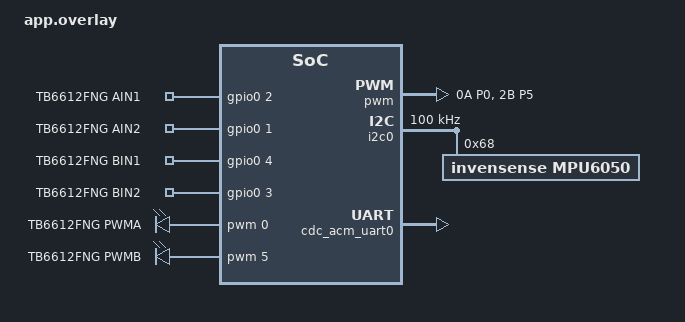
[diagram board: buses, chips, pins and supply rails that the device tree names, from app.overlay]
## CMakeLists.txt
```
# SPDX-License-Identifier: Apache-2.0

cmake_minimum_required(VERSION 3.20.0)

find_package(Zephyr REQUIRED HINTS $ENV{ZEPHYR_BASE})
project(picow_pid)

target_sources(app PRIVATE src/main.c src/mpu6050.c src/pid_controller.c src/motor_control.c)
```

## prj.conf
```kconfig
# CDC specific configurations
CONFIG_USB_DEVICE_STACK=y
CONFIG_USB_DEVICE_PRODUCT="RPi Pico W USB Serial Console"
CONFIG_USB_DEVICE_VID=0001
CONFIG_CONSOLE=y

# UART specific configurations - also required for CDC ACM
CONFIG_SERIAL=y # Enable options for serial drivers
CONFIG_UART_CONSOLE=y # Sets the default for printk and printf to output to the UART serial console
CONFIG_UART_LINE_CTRL=y # This enables the API for apps to control the serial line, such as baud rate, CTS and RTS.

#MPU6050 specific configurations
CONFIG_GPIO=y
CONFIG_I2C=y
CONFIG_SENSOR=y
CONFIG_MPU6050_TRIGGER_NONE=y
CONFIG_CBPRINTF_FP_SUPPORT=y

#Zephyr Logging Module configs
CONFIG_LOG=y
#CONFIG_NET_LOG=y
CONFIG_LOG_DEFAULT_LEVEL=3
CONFIG_LOG_BACKEND_UART=y
CONFIG_LOG_PROCESS_THREAD=y  # Important for automatic log processing

CONFIG_PWM=y

#PercepIO Tracing
# CONFIG_TRACING=y
# CONFIG_PERCEPIO_TRACERECORDER=y
# CONFIG_TRACING_BACKEND_UART=y
# CONFIG_PERCEPIO_TRC_START_MODE_START=y
# CONFIG_PERCEPIO_TRC_CFG_STREAM_PORT_RINGBUFFER=y
# CONFIG_PERCEPIO_TRC_CFG_STREAM_PORT_RINGBUFFER_SIZE=2048
```

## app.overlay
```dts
/ {
    chosen {
        zephyr,console = &cdc_acm_uart0;
    };

    tb6612fng_pins {
        compatible = "gpio-keys";
        
        ain1_pin_label: ain1_pin {
            gpios = <&gpio0 2 GPIO_ACTIVE_HIGH>;
            label = "TB6612FNG AIN1";
        };
        ain2_pin_label: ain2_pin {
            gpios = <&gpio0 1 GPIO_ACTIVE_HIGH>;
            label = "TB6612FNG AIN2";
        };
        bin1_pin_label: bin1_pin {
            gpios = <&gpio0 4 GPIO_ACTIVE_HIGH>;
            label = "TB6612FNG BIN1";
        };
        bin2_pin_label: bin2_pin {
            gpios = <&gpio0 3 GPIO_ACTIVE_HIGH>;
            label = "TB6612FNG BIN2";
        };
    };

    tb6612fng_pwm {
        compatible = "pwm-leds";
        pwm_a_label: pwm_a {
            pwms = <&pwm 0 100000 PWM_POLARITY_NORMAL>;
            label = "TB6612FNG PWMA"; 
        };
        pwm_b_label: pwm_b {
            pwms = <&pwm 5 100000 PWM_POLARITY_NORMAL>;
            label = "TB6612FNG PWMB";
        };
    };

};

&pwm {
    status = "okay";
    pinctrl-0 = <&pwm_ch05_default>;
    pinctrl-names = "default";
};

&i2c0 {
    status = "okay";
    pinctrl-0 = <&i2c0_mpu>;
    pinctrl-names = "default"; //do no use custom names, use predefined names like 'default' or 'sleep', else DT errors occur
    clock-frequency = <I2C_BITRATE_STANDARD>; //can also use I2C_BITRATE_FAST - interferes with logging module when used with a large PWM freq.
    mpu6050: mpu6050@68 {
        compatible = "invensense,mpu6050";
        reg = <0x68>;
        label = "MPU6050";
        status = "okay";
    };
};

&pinctrl{
    pwm_ch05_default: pwm_ch05_default{
        group1{
            pinmux = <PWM_0A_P0>;
        };
        group2{
            pinmux = <PWM_2B_P5>;
        };
    };

    i2c0_mpu: i2c0_mpu {
        group1 {
			pinmux = <I2C0_SDA_P16>, <I2C0_SCL_P17>;
			input-enable;
			input-schmitt-enable;
		};
    };
};

&zephyr_udc0 {
    cdc_acm_uart0: cdc_acm_uart0 {
        compatible = "zephyr,cdc-acm-uart";
        label = "CDC_ACM_0";
        status = "okay";
    };
};
```

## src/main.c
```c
/* main.c */
#include <zephyr/kernel.h>
#include <zephyr/drivers/gpio.h>
#include <zephyr/usb/usb_device.h>
#include <zephyr/drivers/uart.h>
#include "mpu6050.h"
#include "pid_controller.h"
#include <zephyr/logging/log.h>
#include <zephyr/drivers/pwm.h>
#include <stdlib.h>
#include <stdio.h>
#include <string.h>

LOG_MODULE_REGISTER(main, CONFIG_LOG_DEFAULT_LEVEL);

#define STACK_SIZE 1024

// Global device pointer
static const struct device *usb_acm;

/* Setter Getter Helpers */
#define UART_BUF_SIZE 32
static uint8_t uart_rx_buf[UART_BUF_SIZE];
static int uart_rx_pos = 0;

static void process_command(const char *cmd) {
    LOG_INF("Processing command: %s", cmd);
    
    // Get the angle PID controller
    pid_controller_t *pid = balance_controller_get_angle_pid();
    
    // Command format: "pid kp ki kd"
    if (strncmp(cmd, "pid ", 4) == 0) {
        float kp, ki, kd;
        int items = sscanf(cmd + 4, "%f %f %f", &kp, &ki, &kd);
        
        if (items == 3) {
            pid_set_parameters(pid, kp, ki, kd);
            LOG_INF("PID parameters updated: Kp=%.2f, Ki=%.2f, Kd=%.2f", (double)kp, (double)ki, (double)kd);
            
            char response[64];
            snprintf(response, sizeof(response), 
                    "PID parameters updated: Kp=%.2f, Ki=%.2f, Kd=%.2f\r\n", 
                    (double)kp, (double)ki, (double)kd);
            uart_fifo_fill(usb_acm, (const uint8_t *)response, strlen(response));
        } else {
            char response[] = "Invalid format. Use: pid kp ki kd\r\n";
            uart_fifo_fill(usb_acm, (const uint8_t *)response, strlen(response));
        }
    }
    // Command: "getpid" - get current PID values
    else if (strcmp(cmd, "getpid") == 0) {
        float kp, ki, kd;
        pid_get_parameters(pid, &kp, &ki, &kd);
        
        char response[64];
        snprintf(response, sizeof(response), 
                "Current PID parameters: Kp=%.2f, Ki=%.2f, Kd=%.2f\r\n", 
                (double)kp, (double)ki, (double)kd);
        uart_fifo_fill(usb_acm, (const uint8_t *)response, strlen(response));
    }
    // Command: "help" - show available commands
    else if (strcmp(cmd, "help") == 0) {
        char response[] = "Available commands:\r\n"
                         "  pid kp ki kd - Set PID parameters\r\n"
                         "  getpid       - Get current PID parameters\r\n"
                         "  help         - Show this help\r\n";
        uart_fifo_fill(usb_acm, (const uint8_t *)response, strlen(response));
    }
    else {
        char response[] = "Unknown command. Type 'help' for available commands.\r\n";
        uart_fifo_fill(usb_acm, (const uint8_t *)response, strlen(response));
    }
}

static void uart_cb(const struct device *dev, void *user_data)
{
    uint8_t c;
    
    if (!uart_irq_update(dev)) {
        return;
    }
    
    if (uart_irq_rx_ready(dev)) {
        // Read all available data
        while (uart_fifo_read(dev, &c, 1) == 1) {
            //Echo the input back right away
            uart_fifo_fill(dev, &c, 1);
            // Process the character
            if (c == '\r' || c == '\n') {
                // End of command, process it
                if (uart_rx_pos > 0) {
                    uart_rx_buf[uart_rx_pos] = '\0';  // Null-terminate
                    process_command((const char *)uart_rx_buf);
                    uart_rx_pos = 0;  // Reset buffer
                }
            } else if (uart_rx_pos < UART_BUF_SIZE - 1) {
                // Add to buffer
                uart_rx_buf[uart_rx_pos++] = c;
            }
            else {
                // We’ve hit the buffer limit — take action!
                const char *warn_msg = "Command too long!. Ignoring input.\r\n";
                uart_fifo_fill(dev, (const uint8_t *)warn_msg, strlen(warn_msg));
                uart_rx_pos = 0; // Reset Buffer
            }
        }
    }
}

int main(void)
{
    int ret;
    
    // Get USB ACM device
    usb_acm = DEVICE_DT_GET(DT_CHOSEN(zephyr_console));
    if (!device_is_ready(usb_acm)) {
        LOG_ERR("Failed to get USB UART device\n");
        return 0;
    }
    
    // Initialize USB
    if (usb_enable(NULL)) {
        LOG_ERR("Failed to enable USB\n");
        return 0;
    }
    
    // Wait for DTR signal
    uint32_t dtr = 0;
    while (!dtr) {
        uart_line_ctrl_get(usb_acm, UART_LINE_CTRL_DTR, &dtr);
        k_sleep(K_MSEC(100));
    }
    
    // Set UART callback for command processing
    uart_irq_callback_set(usb_acm, uart_cb);
    uart_irq_rx_enable(usb_acm);

    // Initialize balance controller 
    ret = balance_controller_init();
    if (ret != BALANCE_CONTROLLER_SUCCESS) {
        LOG_ERR("Balance controller initialization failed: %d\n", ret);
        return 0;
    }
    
    // Start balance controller thread
    balance_controller_start();

    // Send welcome message
    char welcome[] = "\r\n===== Self-Balancing Robot Control =====\r\n"
    "Type 'help' for available commands\r\n";
    uart_fifo_fill(usb_acm, (const uint8_t *)welcome, strlen(welcome));

    while (1) {
        k_sleep(K_FOREVER);
    }
    
    return 0;
}
```

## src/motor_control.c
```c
/* motor_control.c */
#include "motor_control.h"

LOG_MODULE_DECLARE(main);

// Define PWM and GPIO nodes from devicetree
#define PWM_NODE_A DT_NODELABEL(pwm_a_label)
#define PWM_NODE_B DT_NODELABEL(pwm_b_label)
#define AIN1_NODE DT_NODELABEL(ain1_pin_label)
#define AIN2_NODE DT_NODELABEL(ain2_pin_label)
#define BIN1_NODE DT_NODELABEL(bin1_pin_label)
#define BIN2_NODE DT_NODELABEL(bin2_pin_label)

#define PWM_PERIOD DT_PWMS_PERIOD(PWM_NODE_A) // Period in ns
#define MAX_PULSE (PWM_PERIOD) // 100% duty cycle as maximum
#define MIN_PULSE (PWM_PERIOD / 10) //10% duty cycle as minimum

// Device specs
static const struct gpio_dt_spec ain_1 = GPIO_DT_SPEC_GET(AIN1_NODE, gpios);
static const struct gpio_dt_spec ain_2 = GPIO_DT_SPEC_GET(AIN2_NODE, gpios);
static const struct gpio_dt_spec bin_1 = GPIO_DT_SPEC_GET(BIN1_NODE, gpios);
static const struct gpio_dt_spec bin_2 = GPIO_DT_SPEC_GET(BIN2_NODE, gpios);
 
static const struct pwm_dt_spec pwm_a = PWM_DT_SPEC_GET(PWM_NODE_A);
static const struct pwm_dt_spec pwm_b = PWM_DT_SPEC_GET(PWM_NODE_B);

int motor_init(void) {
    // Check if devices are ready
    if (!device_is_ready(pwm_a.dev) || !device_is_ready(pwm_b.dev) ||
        !device_is_ready(ain_1.port) || !device_is_ready(ain_2.port) ||
        !device_is_ready(bin_1.port) || !device_is_ready(bin_2.port)) {
        LOG_ERR("Motor devices not ready");
        return -1;
    }

    // Configure GPIO pins
    gpio_pin_configure_dt(&ain_1, GPIO_OUTPUT_INACTIVE);
    gpio_pin_configure_dt(&ain_2, GPIO_OUTPUT_INACTIVE);
    gpio_pin_configure_dt(&bin_1, GPIO_OUTPUT_INACTIVE);
    gpio_pin_configure_dt(&bin_2, GPIO_OUTPUT_INACTIVE);

    // Initialize PWM with zero duty cycle
    pwm_set_dt(&pwm_a, PWM_PERIOD, 0);
    pwm_set_dt(&pwm_b, PWM_PERIOD, 0);

    LOG_INF("Motor control initialized");
    return 0;
}

void motor_set_speed(float speed) {
    // Clamp speed to the range -1000 to +1000 
    // Increase range to have finer control, decrease range to have coarser control
    if (speed > 1000.0f) speed = 1000.0f;
    if (speed < -1000.0f) speed = -1000.0f;
    
    // Calculate PWM pulse based on speed percentage
    uint32_t pwm_pulse = (uint32_t)(fabsf(speed) * MAX_PULSE / 1000.0f);

    // Uncomment if motors seem to have a dead zone
    /*
    if (pwm_pulse > 0 && pwm_pulse < MIN_PULSE) {
        pwm_pulse = MIN_PULSE;  // Set a minimum effective threshold
    }
    */

    if (speed > 0) {
        // Forward direction
        gpio_pin_set_dt(&ain_1, 1);
        gpio_pin_set_dt(&ain_2, 0);
        gpio_pin_set_dt(&bin_1, 1);
        gpio_pin_set_dt(&bin_2, 0);
    } else if (speed < 0) {
        // Backward direction
        gpio_pin_set_dt(&ain_1, 0);
        gpio_pin_set_dt(&ain_2, 1);
        gpio_pin_set_dt(&bin_1, 0);
        gpio_pin_set_dt(&bin_2, 1);
    } else {
        // Stop motors
        gpio_pin_set_dt(&ain_1, 0);
        gpio_pin_set_dt(&ain_2, 0);
        gpio_pin_set_dt(&bin_1, 0);
        gpio_pin_set_dt(&bin_2, 0);
        pwm_pulse = 0;
    }
    
    // Set PWM for both motors
    pwm_set_dt(&pwm_a, PWM_PERIOD, pwm_pulse);
    pwm_set_dt(&pwm_b, PWM_PERIOD, pwm_pulse);
}
```

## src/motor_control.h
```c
/* motor_control.h */
#ifndef MOTOR_CONTROL_H
#define MOTOR_CONTROL_H

#include <zephyr/kernel.h>
#include <zephyr/drivers/gpio.h>
#include <zephyr/drivers/pwm.h>
#include <zephyr/logging/log.h>
#include <math.h>
#include <zephyr/usb/usb_device.h>
#include <zephyr/drivers/uart.h>

// Initialize motor control hardware
int motor_init(void);

// Set motor speed with direction control
// This function will be called from the PID controller
void motor_set_speed(float speed);

#endif /* MOTOR_CONTROL_H */
```

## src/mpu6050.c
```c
/*mpu6050.c*/
#include "mpu6050.h"

LOG_MODULE_REGISTER(mpu6050, CONFIG_LOG_DEFAULT_LEVEL);

#define MPU6050_NODE DT_NODELABEL(mpu6050)
#define CALIBRATION_SAMPLES 500


static const struct device *mpu6050;

/* Variables to calculate bias of gyro and accelerometer */
static float gyro_bias_x = 0.0f;            // only pitch axis needed since our tilt happens about this axis
//static float gyro_bias_y = 0.0f;          // Uncomment if required for enhancing gyro calibration 
//static float gyro_bias_z = 0.0f;          // Uncomment if required for enhancing gyro calibration
//static float accel_bias_x = 0.0f;         // Uncomment if required for enhancing gyro calibration
static float accel_bias_y = 0.0f; 
static float accel_bias_z = 0.0f; 

/* Kalman filter variables */
static float Q_angle = 0.001f;              // Process noise variance for the angle
static float Q_gyro = 0.003f;               // Process noise variance for the gyro bias
static float R_measure = 0.03f;             // Measurement noise variance
static float angle = 0.0f;                  // Filtered angle
static float bias = 0.0f;                   // Gyro bias
static float P[2][2] = {{0, 0}, {0, 0}};    // Error covariance matrix

int mpu6050_begin(void){
    int ret;

    mpu6050 = DEVICE_DT_GET(MPU6050_NODE);

    // Check if device is ready
    if (!device_is_ready(mpu6050)) {
        //printk("MPU6050 device not found\n");
        return MPU6050_ERR_NOT_FOUND;
    }

    // Fetch data once to verify device is working
    ret = sensor_sample_fetch(mpu6050);
    if(ret <0){
        return MPU6050_ERR_INIT;
    }

    return MPU6050_SUCCESS;
}

int mpu6050_read(struct mpu6050_data *data){
    int ret;
    ret = sensor_sample_fetch(mpu6050);
    if(ret < 0) {
        return ret;
    }

    ret = sensor_channel_get(mpu6050, SENSOR_CHAN_ACCEL_XYZ, data-> accel);
    if(ret < 0) {
        return ret;
    }

    ret = sensor_channel_get(mpu6050, SENSOR_CHAN_GYRO_XYZ, data-> gyro);
    if(ret < 0) {
        return ret;
    }

    return 0;
}

int calibrate_gyro(void) {
    struct mpu6050_data calib_data;
    float sum_x = 0.0f, sum_y = 0.0f, sum_z = 0.0f;

    for (int i = 0; i < CALIBRATION_SAMPLES; i++) {
        if (mpu6050_read(&calib_data) < 0) {
            return -1;
        }

        sum_x += sensor_value_to_float(&calib_data.gyro[0]); // X-axis (pitch)
        sum_y += sensor_value_to_float(&calib_data.accel[1]); // Y-axis (Accel_Y)
        sum_z += sensor_value_to_float(&calib_data.accel[2]); // X-axis (Accel_Z)

        k_sleep(K_MSEC(2));  // 2 ms × 500 ≈ 1 second
    }

    gyro_bias_x = sum_x / CALIBRATION_SAMPLES;
    accel_bias_y = sum_y / CALIBRATION_SAMPLES;
    accel_bias_z = sum_z / CALIBRATION_SAMPLES;
    LOG_INF("Gyro X, Accel y, Accel Z bias calibrated: %.2f | %.2f | %.2f", (double)gyro_bias_x, (double)accel_bias_y, (double)accel_bias_z);
    return 0;
}

float calculate_angle(struct mpu6050_data *data, float dt) {
    float accel_y = sensor_value_to_float(&data->accel[1]);
    float accel_z = sensor_value_to_float(&data->accel[2]);
    float gyro_x = sensor_value_to_float(&data->gyro[0]) - gyro_bias_x;

    // Calculate angle in radians and convert to degrees
    double accel_angle = atan2f(accel_y, accel_z) * 57.2958f; // 180/PI = 57.2958

    return kalman_filter((float)accel_angle, gyro_x, dt);
}

float kalman_filter(float newAngle, float newRate, float dt) {
    // Prediction Step
    angle += (newRate - bias) * dt;
    
    P[0][0] += dt * (dt * P[1][1] - P[0][1] - P[1][0] + Q_angle);
    P[0][1] -= dt * P[1][1];
    P[1][0] -= dt * P[1][1];
    P[1][1] += Q_gyro * dt;

    // Measurement Update Step
    float S = P[0][0] + R_measure;
    float K[2];
    K[0] = P[0][0] / S;
    K[1] = P[1][0] / S;

    float y = newAngle - angle; // Angle difference
    angle += K[0] * y;
    bias += K[1] * y;

    float P00 = P[0][0];
    float P01 = P[0][1];

    P[0][0] = (1 - K[0]) * P00;
    P[0][1] = (1 - K[0]) * P01;
    P[1][0] = P[1][0] - K[1] * P00;
    P[1][1] = P[1][1] - K[1] * P01;

    return angle;
}
```

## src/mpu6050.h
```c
/*mpu6050.h*/
#ifndef MPU6050_H
#define MPU6050_H

#include <zephyr/kernel.h>
#include <zephyr/drivers/i2c.h>
#include <zephyr/drivers/sensor.h>
#include <zephyr/logging/log.h>
#include <math.h>

/*Error Codes specific to MPU6050*/
#define MPU6050_SUCCESS 0
#define MPU6050_ERR_NOT_FOUND -ENODEV //Device not found
#define MPU6050_ERR_INIT -EINVAL //Initialization Error

// Structure to hold raw accelerometer and gyroscope values from the MPU6050
struct mpu6050_data{
    struct sensor_value accel[3];
    struct sensor_value gyro[3];
};

// Initialize the MPU6050
int mpu6050_begin(void);

// Read MPU6050 Sensor Data
int mpu6050_read(struct mpu6050_data *data);

// Calibrate the MPU6050's  Gyroscope and Accelerometer */
int calibrate_gyro(void);

// Calculate Angle using raw Gyroscope and Accelerometer Data
float calculate_angle(struct mpu6050_data *data, float dt);


// Improve angle estimate using Kalman Filter
float kalman_filter(float newAngle, float newRate, float dt);
#endif
```

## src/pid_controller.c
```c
/* pid_controller.c */
#include "pid_controller.h"
#include "mpu6050.h"
#include "motor_control.h"

LOG_MODULE_REGISTER(pid_controller, CONFIG_LOG_DEFAULT_LEVEL);


#define STACK_SIZE 2048
#define CONTROLLER_PRIORITY 5

// Mutex to ensure thread safety
K_MUTEX_DEFINE(pid_mutex);

// Thread stack and data
K_THREAD_STACK_DEFINE(controller_stack, STACK_SIZE);
static struct k_thread controller_thread_data;

// Semaphore for data synchronization
K_SEM_DEFINE(data_sem, 0, 1);

// Sensor data storage
static struct mpu6050_data mpu6050_latest_data;

// PID controllers for balance
static pid_controller_t angle_pid;

// Controller thread function
static void controller_thread(void *p1, void *p2, void *p3)
{
    int ret;
    float angle, motor_output;
    uint32_t last_time = k_uptime_get();
    float dt;

    //For debugging time
    uint32_t loop_start, loop_end, elapsed;

    while (1) {
        loop_start = k_uptime_get();

        // Read MPU6050 data
        ret = mpu6050_read(&mpu6050_latest_data);
        uint32_t now = k_uptime_get(); //time immediately after sensor read

        if (ret < 0) {
            LOG_ERR("Failed to read MPU6050: %d", ret);
        } else {
            k_sem_give(&data_sem);

            //dt calculation
            dt = (now - last_time) / 1000.0f; // Convert ms to seconds
            last_time = now;

            // Calculate tilt angle
            angle = calculate_angle(&mpu6050_latest_data, dt);

            // PID control
            k_mutex_lock(&pid_mutex, K_FOREVER);
            motor_output = pid_update(&angle_pid, angle, dt);
            k_mutex_unlock(&pid_mutex);
            
            // Safety Threshold
            if(angle < 50.0f && angle > -50.0f){
                motor_set_speed(motor_output);
            }
            else{
                motor_set_speed(0.0f);
                pid_reset(&angle_pid); //prevents integral windup apparently
            }   
        }

        // ========TIMING DEBUG BLOCK START========== 
        //Comment when not needed: loop time debug
        
        /*
        loop_end = k_uptime_get();
        elapsed = loop_end - now;
        LOG_INF("Loop Start: %lu ms | Loop End: %lu ms", loop_start, loop_end);
        //LOG_INF("Loop time: %lu ms | dt: %.3f s | angle(rad): %.3f | output: %.2f",
                 elapsed, dt, angle, motor_output);
        

        // === Sleep to maintain periodic rate ===
        uint32_t control_elapsed = k_uptime_get() - loop_start; //total time elapsed from sensor acquisition to motor control
        LOG_INF("Elapsed vs Control Elapsed: %lu ms vs %lu ms", elapsed, control_elapsed);
        uint32_t sleep_time = 10 - control_elapsed;
        LOG_INF("Control Time: %lu ms| Sleep Time: %lu ms", control_elapsed, sleep_time);
        if (sleep_time > 0) {
            k_sleep(K_MSEC(sleep_time));
        }
        //k_sleep(K_MSEC(10));
        */
        // ========TIMING DEBUG BLOCK END==========
    }
}


int balance_controller_init(void)
{
    int ret;
    
    // Initialize MPU6050
    ret = mpu6050_begin();
    if (ret != MPU6050_SUCCESS) {
        LOG_ERR("MPU6050 initialization failed: %d", ret);
        return BALANCE_CONTROLLER_ERROR;
    }
    
    // === GYRO CALIBRATION ===
    ret = calibrate_gyro();
    if (ret < 0) {
        LOG_ERR("Gyro calibration failed");
        return BALANCE_CONTROLLER_ERROR;
    }

    // Initialize motor control
    ret = motor_init();
    if (ret != 0) {
        LOG_ERR("Motor initialization failed: %d", ret);
        return BALANCE_CONTROLLER_ERROR;
    }
    
    // Initialize PID controller
    pid_init(&angle_pid, 0.0f, 0.0f, 0.0f, -1000.0f, 1000.0f);
    pid_set_setpoint(&angle_pid, 0.0f);  // Target is upright position
    
    return BALANCE_CONTROLLER_SUCCESS;
}

int balance_controller_start(void)
{
    // Create controller thread
    k_thread_create(&controller_thread_data, controller_stack,
                    STACK_SIZE, controller_thread,
                    NULL, NULL, NULL,
                    CONTROLLER_PRIORITY, 0, K_NO_WAIT);
    
    return BALANCE_CONTROLLER_SUCCESS;
}

struct k_sem *balance_controller_get_data_sem(void)
{
    return &data_sem;
}

int balance_controller_get_mpu6050_data(struct mpu6050_data *data)
{
    if (data == NULL) {
        return BALANCE_CONTROLLER_ERROR;
    }
    
    // Copy the latest data
    memcpy(data, &mpu6050_latest_data, sizeof(struct mpu6050_data));
    
    return BALANCE_CONTROLLER_SUCCESS;
}

// PID controller implementation
void pid_init(pid_controller_t *pid, float kp, float ki, float kd, 
              float output_min, float output_max) {
    pid->kp = kp;
    pid->ki = ki;
    pid->kd = kd;
    pid->setpoint = 0.0f;
    pid->integral = 0.0f;
    pid->prev_error = 0.0f;
    pid->output_min = output_min;
    pid->output_max = output_max;
}

float pid_update(pid_controller_t *pid, float measurement, float dt) {
    // Calculate error
    float error = pid->setpoint - measurement;

    // Deadband to prevent overcorrection for small tilt -- may not be necessary when using Kalman filter 
    /*
    const float deadband_threshold = 0.25f;  // in degrees
    if (fabsf(error) < deadband_threshold) {
        return 0.0f;  // No motor output within deadband
    }
    */
    
    // Proportional term
    float p_term = pid->kp * error;

    // Derivative term
    float derivative = (error - pid->prev_error) / dt;
    float d_term = pid->kd * derivative;    
    
    // Integral term without anti-windup
    //pid->integral += error * dt;
    //float i_term = pid->ki * pid->integral;
    
    //Integral term with antiwindup
    float integral_temp = pid->integral + error * dt;
    float i_term = pid->ki * integral_temp;

    // Calculate total output
    float output = p_term + i_term + d_term;

    //Anti-Windup Logic
    if(!((output > pid->output_max && error > 0) || (output < pid->output_min && error < 0))){
        pid->integral = integral_temp;
    }

    // Clamp Output
    if (output > pid->output_max) {
        output = pid->output_max;
    } else if (output < pid->output_min) {
        output = pid->output_min;
    }
    
    // Save error for next iteration
    pid->prev_error = error;
    return output;
}

void pid_set_setpoint(pid_controller_t *pid, float setpoint) {
    pid->setpoint = setpoint;
}

void pid_reset(pid_controller_t *pid) {
    pid->integral = 0.0f;
    pid->prev_error = 0.0f;
}

/* Setter and Getter function implementations */

void pid_get_parameters(pid_controller_t *pid, float *kp, float *ki, float *kd) {
    if (kp) *kp = pid->kp;
    if (ki) *ki = pid->ki;
    if (kd) *kd = pid->kd;
}

void pid_set_parameters(pid_controller_t *pid, float kp, float ki, float kd) {
    k_mutex_lock(&pid_mutex, K_FOREVER);

    pid->kp = kp;
    pid->ki = ki;
    pid->kd = kd;
    // Reset integral and error terms to avoid using stale values
    pid->integral = 0.0f;
    pid->prev_error = 0.0f;

    k_mutex_unlock(&pid_mutex);
}

pid_controller_t *balance_controller_get_angle_pid(void) {
    return &angle_pid;
}
```
